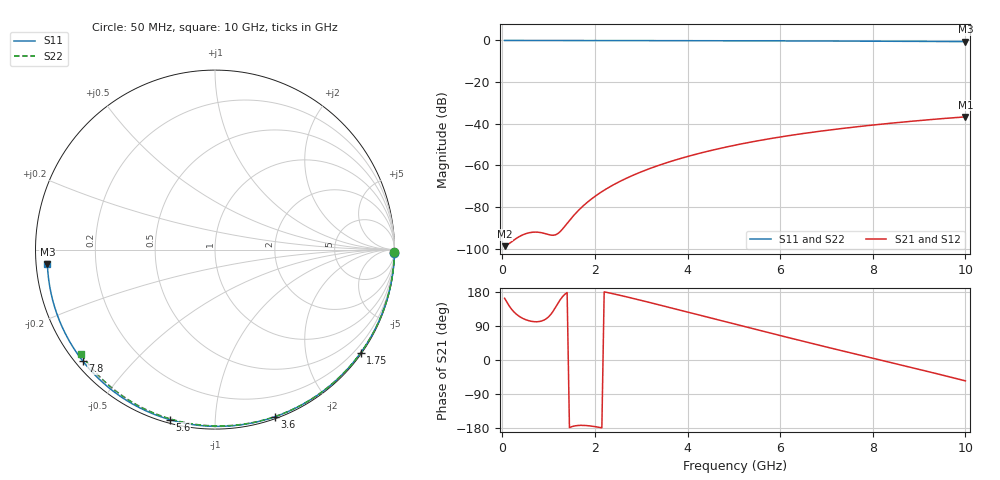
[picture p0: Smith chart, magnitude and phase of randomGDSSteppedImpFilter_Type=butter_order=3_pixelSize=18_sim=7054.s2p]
! freq	dB(S11)	phase(S11)	dB(S12)	phase(S12)
!  dB(S21)	phase(S21)	dB(S22)	phase(S22)
!S-par simulation data
#  GHz  S  DB  R 50
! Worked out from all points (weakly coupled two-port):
!   200 points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, 50 MHz to 10 GHz, reference 50 ohm
!   highest |S21| = -36.69 dB at 10 GHz (marker M1); lowest = -98.8 dB at 50 MHz (marker M2)
!   lowest |S11| = -0.6 dB at 10 GHz (marker M3), VSWR 30.92, Z = 1.62 - j2.16 ohm
!   |S11| at or under -10 dB: nowhere
!   |S22| runs from -0.5 to 0.0 dB; largest |S21 - S12| = 0
!   S11 on the Smith chart (normalised r, x): 50 MHz: open; 1.75 GHz: 0.03, -3.14; 3.6 GHz: 0.02, -1.42; 5.6 GHz: 0.02, -0.77; 7.8 GHz: 0.02, -0.36; 10 GHz: 0.03, -0.04
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0.05  -0.00 -1.0  -98.78 162.9  -98.78 162.9  -0.00 -0.8
0.45  -0.01 -9.3  -93.27 109.3  -93.27 109.3  -0.01 -7.4
0.85  -0.02 -17.4  -92.34 102.9  -92.34 102.9  -0.02 -13.9
1.25  -0.03 -25.4  -91.79 158.9  -91.79 158.9  -0.02 -20.3
1.7  -0.04 -34.4  -80.40 -172.5  -80.40 -172.5  -0.03 -27.5
1.75  -0.05 -35.4  -79.37 -172.5  -79.37 -172.5  -0.04 -28.3
1.9  -0.05 -38.3  -76.56 -174.1  -76.56 -174.1  -0.04 -30.7
2.05  -0.05 -41.2  -74.10 -176.8  -74.10 -176.8  -0.04 -33.1
2.25  -0.06 -45.1  -71.22 178.6  -71.22 178.6  -0.05 -36.2
2.45  -0.06 -49.0  -68.72 173.3  -68.72 173.3  -0.05 -39.3
2.9  -0.07 -57.5  -64.00 160.3  -64.00 160.3  -0.06 -46.3
3.4  -0.09 -66.8  -59.81 145.1  -59.81 145.1  -0.07 -53.9
3.6  -0.09 -70.4  -58.35 138.9  -58.35 138.9  -0.08 -56.9
4.3  -0.12 -82.9  -53.96 117.2  -53.96 117.2  -0.09 -67.2
5.05  -0.15 -95.7  -50.18 93.8  -50.18 93.8  -0.12 -77.9
5.6  -0.17 -104.9  -47.85 76.8  -47.85 76.8  -0.14 -85.5
6.15  -0.20 -113.9  -45.83 60.0  -45.83 60.0  -0.16 -93.0
6.7  -0.24 -122.7  -44.06 43.3  -44.06 43.3  -0.19 -100.3
7.8  -0.32 -140.0  -41.10 10.6  -41.10 10.6  -0.27 -114.5
8.35  -0.38 -148.6  -39.83 -5.6  -39.83 -5.6  -0.31 -121.5
9.2  -0.47 -162.1  -38.09 -30.7  -38.09 -30.7  -0.39 -132.2
10  -0.56 -175.0  -36.69 -55.1  -36.69 -55.1  -0.47 -142.2
